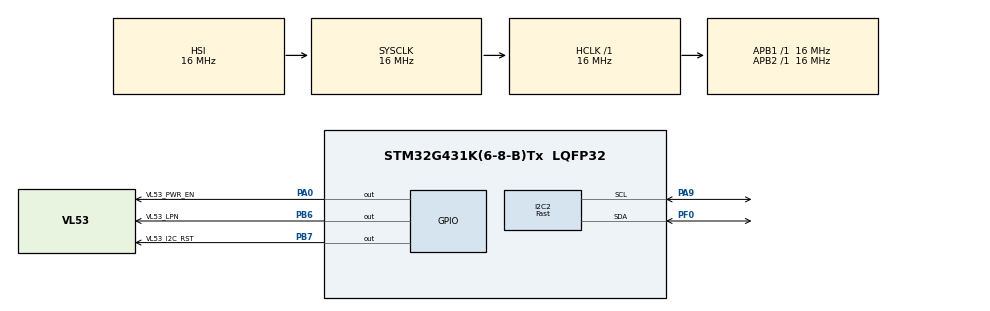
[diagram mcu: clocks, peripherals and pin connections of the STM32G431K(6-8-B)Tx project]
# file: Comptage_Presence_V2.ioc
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I2C2.I2C_Speed_Mode=I2C_Fast
I2C2.Timing=0x00300617
Mcu.Family=STM32G4
Mcu.Name=STM32G431K(6-8-B)Tx
Mcu.Package=LQFP32
NVIC.PriorityGroup=NVIC_PRIORITYGROUP_4
PA0.GPIO_Label=VL53_PWR_EN
PA0.Signal=GPIO_Output
PA9.Mode=I2C
PA9.Signal=I2C2_SCL
PB6.GPIO_Label=VL53_LPN
PB6.Signal=GPIO_Output
PB7.GPIO_Label=VL53_I2C_RST
PB7.Signal=GPIO_Output
PF0-OSC_IN.Mode=I2C
PF0-OSC_IN.Signal=I2C2_SDA
ProjectManager.HeapSize=0x200
ProjectManager.StackSize=0x400
ProjectManager.TargetToolchain=STM32CubeIDE
RCC.AHBFreq_Value=16000000
RCC.APB1Freq_Value=16000000
RCC.APB1TimFreq_Value=16000000
RCC.APB2Freq_Value=16000000
RCC.APB2TimFreq_Value=16000000
RCC.CortexFreq_Value=16000000
RCC.EXTERNAL_CLOCK_VALUE=12288000
RCC.HCLKFreq_Value=16000000
RCC.HSE_VALUE=8000000
RCC.HSI48_VALUE=48000000
RCC.HSI_VALUE=16000000
RCC.LSE_VALUE=32768
RCC.SYSCLKFreq_VALUE=16000000
RCC.USBFreq_Value=64000000
RCC.VCOOutputFreq_Value=128000000
VP_SYS_VS_DBSignals.Mode=DisableDeadBatterySignals
board=custom

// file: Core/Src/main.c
/* USER CODE BEGIN Header */
/**
  ******************************************************************************
  * @file           : main.c
  * @brief          : Main program body
  ******************************************************************************
  * @attention
  *
  * Copyright (c) 2026 STMicroelectronics.
  * All rights reserved.
  *
  * This software is licensed under terms that can be found in the LICENSE file
  * in the root directory of this software component.
  * If no LICENSE file comes with this software, it is provided AS-IS.
  *
  ******************************************************************************
  */
/* USER CODE END Header */
#include "main.h"
#include "vl53l5cx_api.h"
#include "platform.h"
#include <stdio.h>

I2C_HandleTypeDef hi2c2;

void SystemClock_Config(void);
static void MX_GPIO_Init(void);
static void MX_I2C2_Init(void);

/* USER CODE BEGIN 0 */
 // Le fichier principal du driver ST

#define THRESHOLD_MM 1000 // Ton seuil de 1 mètre

// États de la machine à états pour le tracking
typedef enum {
    STATE_IDLE,
    STATE_ENTERING_LR, // Objet détecté col 3, attend col 7
    STATE_LEAVING_LR,  // Objet détecté col 7, attend sortie col 7
    STATE_ENTERING_RL, // Objet détecté col 4, attend col 0
    STATE_LEAVING_RL   // Objet détecté col 0, attend sortie col 0
} PassageState_t;

PassageState_t current_state = STATE_IDLE;
int compteur_passages = 0;

VL53L5CX_Configuration 	Dev;
VL53L5CX_ResultsData 	Results;

// Fonction utilitaire pour calculer la moyenne d'une colonne (0 à 7)
uint16_t get_column_average(VL53L5CX_ResultsData *pResults, uint8_t col) {
    uint32_t sum = 0;
    uint8_t valid_zones = 0;

    for (int row = 0; row < 8; row++) {
        uint8_t zone_index = (row * 8) + col;

        // On vérifie si la mesure de la zone est valide (le status 5 ou 9 indique généralement une bonne mesure)
        if (pResults->target_status[VL53L5CX_NB_TARGET_PER_ZONE * zone_index] == 5 ||
            pResults->target_status[VL53L5CX_NB_TARGET_PER_ZONE * zone_index] == 9) {

            sum += pResults->distance_mm[VL53L5CX_NB_TARGET_PER_ZONE * zone_index];
            valid_zones++;
        }
    }

    // Si aucune zone de la colonne ne renvoie une distance valide, on renvoie une valeur très haute
    if (valid_zones == 0) return 9999;

    return (uint16_t)(sum / valid_zones);
}
/* USER CODE END 0 */

int main(void)
{

  /* MCU Configuration--------------------------------------------------------*/

  /* Reset of all peripherals, Initializes the Flash interface and the Systick. */
  HAL_Init();

  /* Configure the system clock */
  SystemClock_Config();

  /* USER CODE BEGIN SysInit */
  /* USER CODE BEGIN SysInit */

    // --- FORÇAGE MANUEL DE PA15 EN I2C2_SDA ---
    __HAL_RCC_GPIOA_CLK_ENABLE();
    GPIO_InitTypeDef GPIO_InitStruct = {0};

    GPIO_InitStruct.Pin = GPIO_PIN_9 | GPIO_PIN_15;
    GPIO_InitStruct.Mode = GPIO_MODE_AF_OD;      // Open Drain
    GPIO_InitStruct.Pull = GPIO_PULLUP;          // Pull-up
    GPIO_InitStruct.Speed = GPIO_SPEED_FREQ_LOW;
    GPIO_InitStruct.Alternate = GPIO_AF4_I2C2;   // AF4 pour I2C2
    HAL_GPIO_Init(GPIOA, &GPIO_InitStruct);

  /* USER CODE END SysInit */

  /* Initialize all configured peripherals */
  MX_GPIO_Init();
  MX_I2C2_Init();
  /* USER CODE BEGIN 2 */
  // Pour LPn sur PB0
  HAL_GPIO_WritePin(GPIOB, GPIO_PIN_0, GPIO_PIN_SET);

  // Pour I2C_RST sur PA10
  HAL_GPIO_WritePin(GPIOA, GPIO_PIN_10, GPIO_PIN_RESET);
    HAL_Delay(100);

    // 2. Initialisation du capteur VL53L5CX via le driver
    Dev.platform.address = 0x52; // Adresse I2C par défaut
    Dev.platform.i2c_handle = &hi2c2; // Remplace par ton instance I2C (ex: &hi2c2)

    uint8_t isAlive = 0;
    vl53l5cx_is_alive(&Dev, &isAlive);
    if(isAlive) {
        vl53l5cx_init(&Dev);
        vl53l5cx_set_resolution(&Dev, VL53L5CX_RESOLUTION_8X8); // Matrice 8x8
        vl53l5cx_set_ranging_frequency_hz(&Dev, 15); // 15 Hz est le max officiel en 8x8 continu
        vl53l5cx_start_ranging(&Dev);
    } else {
        // Gérer l'erreur si le capteur ne répond pas
        while(1);
    }
  /* USER CODE END 2 */

  /* Infinite loop */
  while (1)
  {

    /* USER CODE BEGIN 3 */
  }
    uint8_t isReady = 0;
        vl53l5cx_check_data_ready(&Dev, &isReady);

        if(isReady) {
            vl53l5cx_get_ranging_data(&Dev, &Results);

            // Récupération de la moyenne des colonnes d'intérêt
            uint16_t avg_col_0 = get_column_average(&Results, 0);
            uint16_t avg_col_3 = get_column_average(&Results, 3);
            uint16_t avg_col_4 = get_column_average(&Results, 4);
            uint16_t avg_col_7 = get_column_average(&Results, 7);

            // Machine à états selon ta logique exacte
            switch(current_state) {
                case STATE_IDLE:
                    if (avg_col_3 < THRESHOLD_MM) {
                        current_state = STATE_ENTERING_LR;
                    } else if (avg_col_4 < THRESHOLD_MM) {
                        current_state = STATE_ENTERING_RL;
                    }
                    break;

                // --- GESTION GAUCHE VERS DROITE (+1) ---
                case STATE_ENTERING_LR:
                    if (avg_col_7 < THRESHOLD_MM) {
                        // L'objet a atteint la colonne de sortie droite
                        current_state = STATE_LEAVING_LR;
                    } else if (avg_col_3 > THRESHOLD_MM && avg_col_4 > THRESHOLD_MM) {
                        // L'objet a reculé / Faux positif
                        current_state = STATE_IDLE;
                    }
                    break;

                case STATE_LEAVING_LR:
                    if (avg_col_7 > THRESHOLD_MM) {
                        // L'objet est totalement sorti
                        compteur_passages++;
                        current_state = STATE_IDLE;
                        HAL_GPIO_TogglePin(GPIOA, GPIO_PIN_8); // PA8 est la broche de ta LED
                        printf("Passage G->D | Compteur : %d\r\n", compteur_passages);
                    }
                    break;

                // --- GESTION DROITE VERS GAUCHE (-1) ---
                case STATE_ENTERING_RL:
                    if (avg_col_0 < THRESHOLD_MM) {
                        // L'objet a atteint la colonne de sortie gauche
                        current_state = STATE_LEAVING_RL;
                    } else if (avg_col_4 > THRESHOLD_MM && avg_col_3 > THRESHOLD_MM) {
                        // L'objet a reculé / Faux positif
                        current_state = STATE_IDLE;
                    }
                    break;

                case STATE_LEAVING_RL:
                    if (avg_col_0 > THRESHOLD_MM) {
                        // L'objet est totalement sorti
                        compteur_passages--;
                        current_state = STATE_IDLE;
                        HAL_GPIO_TogglePin(GPIOA, GPIO_PIN_8); // PA8 est la broche de ta LED
                        printf("Passage D->G | Compteur : %d\r\n", compteur_passages);
                    }
                    break;
            }
        }
  /* USER CODE END 3 */
}

void SystemClock_Config(void)
{
  RCC_OscInitTypeDef RCC_OscInitStruct = {0};
  RCC_ClkInitTypeDef RCC_ClkInitStruct = {0};

  /** Configure the main internal regulator output voltage
  */
  HAL_PWREx_ControlVoltageScaling(PWR_REGULATOR_VOLTAGE_SCALE1);

  /** Initializes the RCC Oscillators according to the specified parameters
  * in the RCC_OscInitTypeDef structure.
  */
  RCC_OscInitStruct.OscillatorType = RCC_OSCILLATORTYPE_HSI;
  RCC_OscInitStruct.HSIState = RCC_HSI_ON;
  RCC_OscInitStruct.HSICalibrationValue = RCC_HSICALIBRATION_DEFAULT;
  RCC_OscInitStruct.PLL.PLLState = RCC_PLL_NONE;
  if (HAL_RCC_OscConfig(&RCC_OscInitStruct) != HAL_OK)
  {
    Error_Handler();
  }

  /** Initializes the CPU, AHB and APB buses clocks
  */
  RCC_ClkInitStruct.ClockType = RCC_CLOCKTYPE_HCLK|RCC_CLOCKTYPE_SYSCLK
                              |RCC_CLOCKTYPE_PCLK1|RCC_CLOCKTYPE_PCLK2;
  RCC_ClkInitStruct.SYSCLKSource = RCC_SYSCLKSOURCE_HSI;
  RCC_ClkInitStruct.AHBCLKDivider = RCC_SYSCLK_DIV1;
  RCC_ClkInitStruct.APB1CLKDivider = RCC_HCLK_DIV1;
  RCC_ClkInitStruct.APB2CLKDivider = RCC_HCLK_DIV1;

  if (HAL_RCC_ClockConfig(&RCC_ClkInitStruct, FLASH_LATENCY_0) != HAL_OK)
  {
    Error_Handler();
  }
}

static void MX_I2C2_Init(void)
{

  hi2c2.Instance = I2C2;
  hi2c2.Init.Timing = 0x00300617;
  hi2c2.Init.OwnAddress1 = 0;
  hi2c2.Init.AddressingMode = I2C_ADDRESSINGMODE_7BIT;
  hi2c2.Init.DualAddressMode = I2C_DUALADDRESS_DISABLE;
  hi2c2.Init.OwnAddress2 = 0;
  hi2c2.Init.OwnAddress2Masks = I2C_OA2_NOMASK;
  hi2c2.Init.GeneralCallMode = I2C_GENERALCALL_DISABLE;
  hi2c2.Init.NoStretchMode = I2C_NOSTRETCH_DISABLE;
  if (HAL_I2C_Init(&hi2c2) != HAL_OK)
  {
    Error_Handler();
  }

  /** Configure Analogue filter
  */
  if (HAL_I2CEx_ConfigAnalogFilter(&hi2c2, I2C_ANALOGFILTER_ENABLE) != HAL_OK)
  {
    Error_Handler();
  }

  /** Configure Digital filter
  */
  if (HAL_I2CEx_ConfigDigitalFilter(&hi2c2, 0) != HAL_OK)
  {
    Error_Handler();
  }

}

static void MX_GPIO_Init(void)
{
  GPIO_InitTypeDef GPIO_InitStruct = {0};

  /* GPIO Ports Clock Enable */
  __HAL_RCC_GPIOF_CLK_ENABLE();
  __HAL_RCC_GPIOA_CLK_ENABLE();
  __HAL_RCC_GPIOB_CLK_ENABLE();

  /*Configure GPIO pin Output Level */
  HAL_GPIO_WritePin(VL53_PWR_EN_GPIO_Port, VL53_PWR_EN_Pin, GPIO_PIN_RESET);

  /*Configure GPIO pin Output Level */
  HAL_GPIO_WritePin(GPIOB, VL53_LPN_Pin|VL53_I2C_RST_Pin, GPIO_PIN_RESET);

  /*Configure GPIO pin : VL53_PWR_EN_Pin */
  GPIO_InitStruct.Pin = VL53_PWR_EN_Pin;
  GPIO_InitStruct.Mode = GPIO_MODE_OUTPUT_PP;
  GPIO_InitStruct.Pull = GPIO_NOPULL;
  GPIO_InitStruct.Speed = GPIO_SPEED_FREQ_LOW;
  HAL_GPIO_Init(VL53_PWR_EN_GPIO_Port, &GPIO_InitStruct);

  /*Configure GPIO pins : VL53_LPN_Pin VL53_I2C_RST_Pin */
  GPIO_InitStruct.Pin = VL53_LPN_Pin|VL53_I2C_RST_Pin;
  GPIO_InitStruct.Mode = GPIO_MODE_OUTPUT_PP;
  GPIO_InitStruct.Pull = GPIO_NOPULL;
  GPIO_InitStruct.Speed = GPIO_SPEED_FREQ_LOW;
  HAL_GPIO_Init(GPIOB, &GPIO_InitStruct);

}

void Error_Handler(void)
{
  __disable_irq();
  while (1)
  {
  }
}
